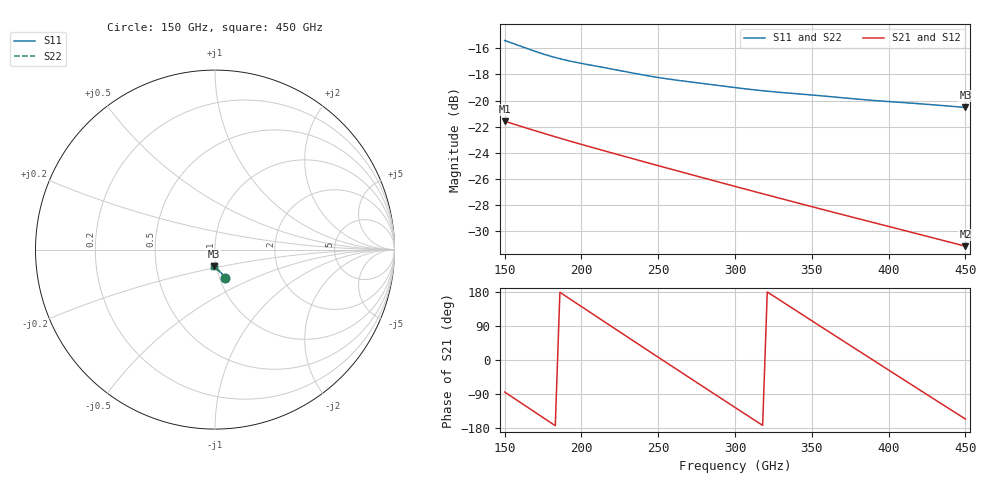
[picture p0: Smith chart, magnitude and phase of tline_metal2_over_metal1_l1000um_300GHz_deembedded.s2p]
! Created with skrf 2.2.0 (http://scikit-rf.org).
# GHz S DB R 50.0
! Port[1] = P1
! Port[2] = P2
!freq dBS11 angS11 dBS21 angS21 dBS12 angS12 dBS22 angS22
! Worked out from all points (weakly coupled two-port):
!   101 points, 150 GHz to 450 GHz, reference 50 ohm
!   highest |S21| = -21.58 dB at 150 GHz (marker M1); lowest = -31.1 dB at 450 GHz (marker M2)
!   lowest |S11| = -20.5 dB at 450 GHz (marker M3), VSWR 1.21, Z = 48.6 - j9.21 ohm
!   |S11| at or under -10 dB: start of sweep to end of sweep
!   |S22| runs from -20.7 to -15.5 dB; largest |S21 - S12| = 9.1e-14
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150  -15.41 -70.6  -21.58 -84.4  -21.58 -84.4  -15.45 -70.3
162  -15.91 -72.1  -22.02 -116.8  -22.02 -116.8  -15.94 -71.7
177  -16.51 -73.2  -22.56 -157.2  -22.56 -157.2  -16.50 -72.7
189  -16.89 -73.7  -22.98 170.5  -22.98 170.5  -16.84 -73.2
201  -17.18 -74.3  -23.39 138.4  -23.39 138.4  -17.10 -73.9
213  -17.45 -75.2  -23.78 106.2  -23.78 106.2  -17.33 -75.0
225  -17.71 -76.3  -24.17 74.1  -24.17 74.1  -17.58 -76.3
240  -18.04 -77.4  -24.66 34.0  -24.66 34.0  -17.89 -77.7
252  -18.28 -78.2  -25.04 2.0  -25.04 2.0  -18.12 -78.7
264  -18.48 -79.0  -25.43 -29.9  -25.43 -29.9  -18.32 -79.8
276  -18.65 -79.9  -25.81 -61.7  -25.81 -61.7  -18.51 -81.0
288  -18.83 -80.9  -26.19 -93.5  -26.19 -93.5  -18.70 -82.2
300  -19.01 -81.8  -26.56 -125.2  -26.56 -125.2  -18.91 -83.4
312  -19.18 -82.7  -26.94 -156.8  -26.94 -156.8  -19.12 -84.4
324  -19.32 -83.5  -27.31 171.7  -27.31 171.7  -19.31 -85.3
339  -19.47 -84.6  -27.78 132.4  -27.78 132.4  -19.52 -86.4
351  -19.59 -85.6  -28.14 101.0  -28.14 101.0  -19.68 -87.3
363  -19.71 -86.6  -28.51 69.7  -28.51 69.7  -19.83 -88.2
378  -19.87 -87.8  -28.97 30.7  -28.97 30.7  -20.02 -89.2
402  -20.10 -89.5  -29.69 -31.6  -29.69 -31.6  -20.26 -90.6
426  -20.30 -91.5  -30.41 -93.8  -30.41 -93.8  -20.47 -92.3
450  -20.53 -93.3  -31.13 -155.7  -31.13 -155.7  -20.69 -93.9
